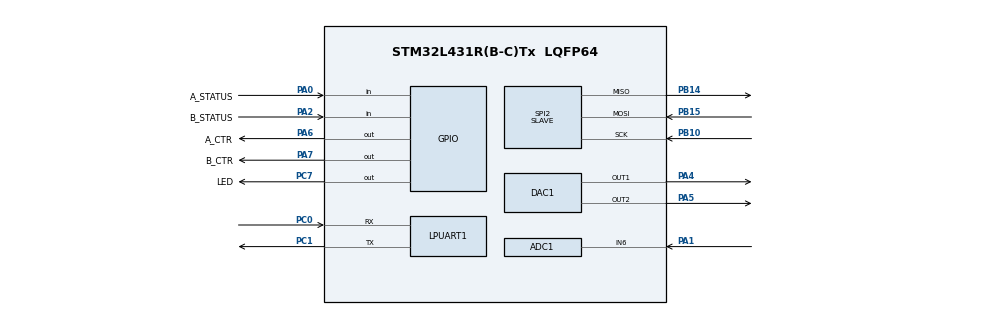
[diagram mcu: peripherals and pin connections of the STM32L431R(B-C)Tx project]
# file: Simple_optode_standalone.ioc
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ADC1.Channel-1\#ChannelRegularConversion=ADC_CHANNEL_6
ADC1.ContinuousConvMode=ENABLE
ADC1.NbrOfConversionFlag=1
ADC1.OffsetNumber-1\#ChannelRegularConversion=ADC_OFFSET_NONE
ADC1.Rank-1\#ChannelRegularConversion=1
ADC1.Resolution=ADC_RESOLUTION_12B
ADC1.SamplingTime-1\#ChannelRegularConversion=ADC_SAMPLETIME_2CYCLES_5
ADC1.master=1
DAC1.DAC_Channel-DAC_OUT2=DAC_CHANNEL_2
DAC1.DAC_SampleAndHold-DAC_OUT1=DAC_SAMPLEANDHOLD_ENABLE
DAC1.DAC_SampleAndHold-DAC_OUT2=DAC_SAMPLEANDHOLD_ENABLE
Mcu.Family=STM32L4
Mcu.Name=STM32L431R(B-C)Tx
Mcu.Package=LQFP64
NVIC.ADC1_IRQn=true\:0\:0\:false\:false\:true\:true\:true
NVIC.PriorityGroup=NVIC_PRIORITYGROUP_4
NVIC.TIM1_UP_TIM16_IRQn=true\:0\:0\:false\:false\:true\:true\:true
PA0.GPIO_Label=A_STATUS
PA0.Signal=GPIO_Input
PA1.Signal=ADCx_IN6
PA13\ (JTMS-SWDIO).Mode=Serial_Wire
PA13\ (JTMS-SWDIO).Signal=SYS_JTMS-SWDIO
PA14\ (JTCK-SWCLK).Mode=Serial_Wire
PA14\ (JTCK-SWCLK).Signal=SYS_JTCK-SWCLK
PA2.GPIO_Label=B_STATUS
PA2.Signal=GPIO_Input
PA4.Signal=COMP_DAC11_group
PA5.Signal=COMP_DAC12_group
PA6.GPIO_Label=A_CTR
PA6.Signal=GPIO_Output
PA7.GPIO_Label=B_CTR
PA7.Signal=GPIO_Output
PB10.Mode=Full_Duplex_Slave
PB10.Signal=SPI2_SCK
PB12.Signal=SPI2_NSS
PB14.Mode=Full_Duplex_Slave
PB14.Signal=SPI2_MISO
PB15.Mode=Full_Duplex_Slave
PB15.Signal=SPI2_MOSI
PC0.Mode=Asynchronous
PC0.Signal=LPUART1_RX
PC1.Mode=Asynchronous
PC1.Signal=LPUART1_TX
PC14-OSC32_IN\ (PC14).Mode=LSE-External-Oscillator
PC14-OSC32_IN\ (PC14).Signal=RCC_OSC32_IN
PC15-OSC32_OUT\ (PC15).Mode=LSE-External-Oscillator
PC15-OSC32_OUT\ (PC15).Signal=RCC_OSC32_OUT
PC7.GPIO_Label=LED
PC7.Signal=GPIO_Output
PH0-OSC_IN\ (PH0).Mode=HSE-External-Oscillator
PH0-OSC_IN\ (PH0).Signal=RCC_OSC_IN
PH1-OSC_OUT\ (PH1).Mode=HSE-External-Oscillator
PH1-OSC_OUT\ (PH1).Signal=RCC_OSC_OUT
ProjectManager.HeapSize=0x200
ProjectManager.StackSize=0x400
ProjectManager.TargetToolchain=STM32CubeIDE
RCC.ADCFreq_Value=64000000
RCC.HSE_VALUE=16000000
RCC.HSI48_VALUE=48000000
RCC.HSI_VALUE=16000000
RCC.MSI_VALUE=4000000
RCC.PLLSourceVirtual=RCC_PLLSOURCE_HSE
RCC.VCOOutputFreq_Value=128000000
SH.ADCx_IN6.0=ADC1_IN6,IN6-Single-Ended
SH.COMP_DAC11_group.0=DAC1_OUT1,DAC_OUT1
SH.COMP_DAC12_group.0=DAC1_OUT2,DAC_OUT2
SPI2.Direction=SPI_DIRECTION_2LINES
SPI2.Mode=SPI_MODE_SLAVE
SPI2.VirtualType=VM_SLAVE
TIM16.Period=10000-1
TIM16.Prescaler=80-1
VP_TIM16_VS_ClockSourceINT.Mode=Enable_Timer
board=custom

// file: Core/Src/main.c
/* USER CODE BEGIN Header */
/**
  ******************************************************************************
  * @file           : main.c
  * @brief          : This is the code for the simple standalone optode
  * @Author			: UG Chathura Jayasankha
  ******************************************************************************
  * @attention
  *
  * <h2><center>&copy; Copyright (c) 2022 STMicroelectronics.
  * All rights reserved.</center></h2>
  *
  * This software component is licensed by ST under BSD 3-Clause license,
  * the "License"; You may not use this file except in compliance with the
  * License. You may obtain a copy of the License at:
  *                        opensource.org/licenses/BSD-3-Clause
  *
  ******************************************************************************
  */
/* USER CODE END Header */
#include "main.h"

/* USER CODE BEGIN Includes */
#include <stdio.h>
#include <string.h>
/* USER CODE END Includes */

ADC_HandleTypeDef hadc1;

DAC_HandleTypeDef hdac1;

UART_HandleTypeDef hlpuart1;

SPI_HandleTypeDef hspi2;

TIM_HandleTypeDef htim16;

/* USER CODE BEGIN PV */
uint32_t DAC_val = 4000;

/* USER CODE END PV */

void SystemClock_Config(void);
static void MX_GPIO_Init(void);
static void MX_ADC1_Init(void);
static void MX_DAC1_Init(void);
static void MX_TIM16_Init(void);
static void MX_LPUART1_UART_Init(void);
static void MX_SPI2_Init(void);

/* USER CODE BEGIN 0 */
uint16_t adc_reading;
char msg[10];
char uart_buf[100];
int uart_buf_len;
/* USER CODE END 0 */

int main(void)
{

  /* MCU Configuration--------------------------------------------------------*/

  /* Reset of all peripherals, Initializes the Flash interface and the Systick. */
  HAL_Init();

  /* Configure the system clock */
  SystemClock_Config();

  /* Initialize all configured peripherals */
  MX_GPIO_Init();
  MX_ADC1_Init();
  MX_DAC1_Init();
  MX_TIM16_Init();
  MX_LPUART1_UART_Init();
  MX_SPI2_Init();
  /* USER CODE BEGIN 2 */

  // switching on led to show the fnirs start
  HAL_GPIO_WritePin(GPIOB, GPIO_PIN_7, GPIO_PIN_SET);
  HAL_Delay(500);
  HAL_GPIO_WritePin(GPIOB, GPIO_PIN_7, GPIO_PIN_RESET);
  HAL_Delay(500);
  HAL_GPIO_WritePin(GPIOB, GPIO_PIN_7, GPIO_PIN_SET);
  HAL_Delay(500);
  HAL_GPIO_WritePin(GPIOB, GPIO_PIN_7, GPIO_PIN_RESET);
  HAL_Delay(500);
  HAL_GPIO_WritePin(GPIOB, GPIO_PIN_7, GPIO_PIN_SET);
  HAL_Delay(500);
  HAL_GPIO_WritePin(GPIOB, GPIO_PIN_7, GPIO_PIN_RESET);
  HAL_Delay(500);
  HAL_GPIO_WritePin(GPIOB, GPIO_PIN_7, GPIO_PIN_SET);
  HAL_Delay(500);

  //usb output as a test
  uart_buf_len = sprintf(uart_buf, "Timer starting ...\r\n");
  HAL_UART_Transmit(&hlpuart1, (uint8_t *)uart_buf, uart_buf_len, 100);
  // HAL_UART_Transmit(huart, pData, Size, Timeout)

  //start interrupt for ADC
  HAL_ADC_Start_IT (&hadc1);

  //start interrupt timer
  HAL_TIM_Base_Start_IT(&htim16);

  //start DAC
  HAL_DAC_Start(&hdac1, DAC_CHANNEL_1);
  HAL_DAC_Start(&hdac1, DAC_CHANNEL_2);
  HAL_DAC_SetValue(&hdac1, DAC1_CHANNEL_1, DAC_ALIGN_12B_R, DAC_val);
  HAL_DAC_SetValue(&hdac1, DAC1_CHANNEL_2, DAC_ALIGN_12B_R, DAC_val);

  /* USER CODE END 2 */

  /* Infinite loop */
  while (1)
  {

    /* USER CODE BEGIN 3 */
//	  HAL_GPIO_TogglePin(GPIOA, GPIO_PIN_7);
//	  HAL_GPIO_TogglePin(GPIOA, GPIO_PIN_6);
//	  HAL_Delay(500);
  }
  /* USER CODE END 3 */
}

void SystemClock_Config(void)
{
  RCC_OscInitTypeDef RCC_OscInitStruct = {0};
  RCC_ClkInitTypeDef RCC_ClkInitStruct = {0};

  /** Configure the main internal regulator output voltage
  */
  if (HAL_PWREx_ControlVoltageScaling(PWR_REGULATOR_VOLTAGE_SCALE1) != HAL_OK)
  {
    Error_Handler();
  }
  /** Configure LSE Drive Capability
  */
  HAL_PWR_EnableBkUpAccess();
  __HAL_RCC_LSEDRIVE_CONFIG(RCC_LSEDRIVE_LOW);
  /** Initializes the RCC Oscillators according to the specified parameters
  * in the RCC_OscInitTypeDef structure.
  */
  RCC_OscInitStruct.OscillatorType = RCC_OSCILLATORTYPE_LSI|RCC_OSCILLATORTYPE_HSE
                              |RCC_OSCILLATORTYPE_LSE|RCC_OSCILLATORTYPE_MSI;
  RCC_OscInitStruct.HSEState = RCC_HSE_ON;
  RCC_OscInitStruct.LSEState = RCC_LSE_ON;
  RCC_OscInitStruct.LSIState = RCC_LSI_ON;
  RCC_OscInitStruct.MSIState = RCC_MSI_ON;
  RCC_OscInitStruct.MSICalibrationValue = 0;
  RCC_OscInitStruct.MSIClockRange = RCC_MSIRANGE_6;
  RCC_OscInitStruct.PLL.PLLState = RCC_PLL_NONE;
  if (HAL_RCC_OscConfig(&RCC_OscInitStruct) != HAL_OK)
  {
    Error_Handler();
  }
  /** Initializes the CPU, AHB and APB buses clocks
  */
  RCC_ClkInitStruct.ClockType = RCC_CLOCKTYPE_HCLK|RCC_CLOCKTYPE_SYSCLK
                              |RCC_CLOCKTYPE_PCLK1|RCC_CLOCKTYPE_PCLK2;
  RCC_ClkInitStruct.SYSCLKSource = RCC_SYSCLKSOURCE_MSI;
  RCC_ClkInitStruct.AHBCLKDivider = RCC_SYSCLK_DIV1;
  RCC_ClkInitStruct.APB1CLKDivider = RCC_HCLK_DIV1;
  RCC_ClkInitStruct.APB2CLKDivider = RCC_HCLK_DIV1;

  if (HAL_RCC_ClockConfig(&RCC_ClkInitStruct, FLASH_LATENCY_0) != HAL_OK)
  {
    Error_Handler();
  }
  /** Enable MSI Auto calibration
  */
  HAL_RCCEx_EnableMSIPLLMode();
}

static void MX_ADC1_Init(void)
{

  ADC_ChannelConfTypeDef sConfig = {0};

  /** Common config
  */
  hadc1.Instance = ADC1;
  hadc1.Init.ClockPrescaler = ADC_CLOCK_ASYNC_DIV1;
  hadc1.Init.Resolution = ADC_RESOLUTION_12B;
  hadc1.Init.DataAlign = ADC_DATAALIGN_RIGHT;
  hadc1.Init.ScanConvMode = ADC_SCAN_DISABLE;
  hadc1.Init.EOCSelection = ADC_EOC_SINGLE_CONV;
  hadc1.Init.LowPowerAutoWait = DISABLE;
  hadc1.Init.ContinuousConvMode = ENABLE;
  hadc1.Init.NbrOfConversion = 1;
  hadc1.Init.DiscontinuousConvMode = DISABLE;
  hadc1.Init.ExternalTrigConv = ADC_SOFTWARE_START;
  hadc1.Init.ExternalTrigConvEdge = ADC_EXTERNALTRIGCONVEDGE_NONE;
  hadc1.Init.DMAContinuousRequests = DISABLE;
  hadc1.Init.Overrun = ADC_OVR_DATA_PRESERVED;
  hadc1.Init.OversamplingMode = DISABLE;
  if (HAL_ADC_Init(&hadc1) != HAL_OK)
  {
    Error_Handler();
  }
  /** Configure Regular Channel
  */
  sConfig.Channel = ADC_CHANNEL_6;
  sConfig.Rank = ADC_REGULAR_RANK_1;
  sConfig.SamplingTime = ADC_SAMPLETIME_2CYCLES_5;
  sConfig.SingleDiff = ADC_SINGLE_ENDED;
  sConfig.OffsetNumber = ADC_OFFSET_NONE;
  sConfig.Offset = 0;
  if (HAL_ADC_ConfigChannel(&hadc1, &sConfig) != HAL_OK)
  {
    Error_Handler();
  }

}

static void MX_DAC1_Init(void)
{

  DAC_ChannelConfTypeDef sConfig = {0};

  /** DAC Initialization
  */
  hdac1.Instance = DAC1;
  if (HAL_DAC_Init(&hdac1) != HAL_OK)
  {
    Error_Handler();
  }
  /** DAC channel OUT1 config
  */
  sConfig.DAC_SampleAndHold = DAC_SAMPLEANDHOLD_ENABLE;
  sConfig.DAC_Trigger = DAC_TRIGGER_NONE;
  sConfig.DAC_OutputBuffer = DAC_OUTPUTBUFFER_ENABLE;
  sConfig.DAC_ConnectOnChipPeripheral = DAC_CHIPCONNECT_DISABLE;
  sConfig.DAC_UserTrimming = DAC_TRIMMING_FACTORY;
  sConfig.DAC_SampleAndHoldConfig.DAC_SampleTime = 0;
  sConfig.DAC_SampleAndHoldConfig.DAC_HoldTime = 0;
  sConfig.DAC_SampleAndHoldConfig.DAC_RefreshTime = 0;
  if (HAL_DAC_ConfigChannel(&hdac1, &sConfig, DAC_CHANNEL_1) != HAL_OK)
  {
    Error_Handler();
  }
  /** DAC channel OUT2 config
  */
  if (HAL_DAC_ConfigChannel(&hdac1, &sConfig, DAC_CHANNEL_2) != HAL_OK)
  {
    Error_Handler();
  }

}

static void MX_LPUART1_UART_Init(void)
{

  hlpuart1.Instance = LPUART1;
  hlpuart1.Init.BaudRate = 209700;
  hlpuart1.Init.WordLength = UART_WORDLENGTH_7B;
  hlpuart1.Init.StopBits = UART_STOPBITS_1;
  hlpuart1.Init.Parity = UART_PARITY_NONE;
  hlpuart1.Init.Mode = UART_MODE_TX_RX;
  hlpuart1.Init.HwFlowCtl = UART_HWCONTROL_NONE;
  hlpuart1.Init.OneBitSampling = UART_ONE_BIT_SAMPLE_DISABLE;
  hlpuart1.AdvancedInit.AdvFeatureInit = UART_ADVFEATURE_NO_INIT;
  if (HAL_UART_Init(&hlpuart1) != HAL_OK)
  {
    Error_Handler();
  }

}

static void MX_SPI2_Init(void)
{

  /* SPI2 parameter configuration*/
  hspi2.Instance = SPI2;
  hspi2.Init.Mode = SPI_MODE_SLAVE;
  hspi2.Init.Direction = SPI_DIRECTION_2LINES;
  hspi2.Init.DataSize = SPI_DATASIZE_4BIT;
  hspi2.Init.CLKPolarity = SPI_POLARITY_LOW;
  hspi2.Init.CLKPhase = SPI_PHASE_1EDGE;
  hspi2.Init.NSS = SPI_NSS_SOFT;
  hspi2.Init.FirstBit = SPI_FIRSTBIT_MSB;
  hspi2.Init.TIMode = SPI_TIMODE_DISABLE;
  hspi2.Init.CRCCalculation = SPI_CRCCALCULATION_DISABLE;
  hspi2.Init.CRCPolynomial = 7;
  hspi2.Init.CRCLength = SPI_CRC_LENGTH_DATASIZE;
  hspi2.Init.NSSPMode = SPI_NSS_PULSE_DISABLE;
  if (HAL_SPI_Init(&hspi2) != HAL_OK)
  {
    Error_Handler();
  }

}

static void MX_TIM16_Init(void)
{

  htim16.Instance = TIM16;
  htim16.Init.Prescaler = 80-1;
  htim16.Init.CounterMode = TIM_COUNTERMODE_UP;
  htim16.Init.Period = 10000-1;
  htim16.Init.ClockDivision = TIM_CLOCKDIVISION_DIV1;
  htim16.Init.RepetitionCounter = 0;
  htim16.Init.AutoReloadPreload = TIM_AUTORELOAD_PRELOAD_DISABLE;
  if (HAL_TIM_Base_Init(&htim16) != HAL_OK)
  {
    Error_Handler();
  }

}

static void MX_GPIO_Init(void)
{
  GPIO_InitTypeDef GPIO_InitStruct = {0};

  /* GPIO Ports Clock Enable */
  __HAL_RCC_GPIOC_CLK_ENABLE();
  __HAL_RCC_GPIOH_CLK_ENABLE();
  __HAL_RCC_GPIOA_CLK_ENABLE();
  __HAL_RCC_GPIOB_CLK_ENABLE();

  /*Configure GPIO pin Output Level */
  HAL_GPIO_WritePin(GPIOA, A_CTR_Pin|B_CTR_Pin, GPIO_PIN_RESET);

  /*Configure GPIO pin Output Level */
  HAL_GPIO_WritePin(LED_GPIO_Port, LED_Pin, GPIO_PIN_RESET);

  /*Configure GPIO pins : A_STATUS_Pin B_STATUS_Pin */
  GPIO_InitStruct.Pin = A_STATUS_Pin|B_STATUS_Pin;
  GPIO_InitStruct.Mode = GPIO_MODE_INPUT;
  GPIO_InitStruct.Pull = GPIO_NOPULL;
  HAL_GPIO_Init(GPIOA, &GPIO_InitStruct);

  /*Configure GPIO pins : A_CTR_Pin B_CTR_Pin */
  GPIO_InitStruct.Pin = A_CTR_Pin|B_CTR_Pin;
  GPIO_InitStruct.Mode = GPIO_MODE_OUTPUT_PP;
  GPIO_InitStruct.Pull = GPIO_NOPULL;
  GPIO_InitStruct.Speed = GPIO_SPEED_FREQ_LOW;
  HAL_GPIO_Init(GPIOA, &GPIO_InitStruct);

  /*Configure GPIO pin : LED_Pin */
  GPIO_InitStruct.Pin = LED_Pin;
  GPIO_InitStruct.Mode = GPIO_MODE_OUTPUT_PP;
  GPIO_InitStruct.Pull = GPIO_NOPULL;
  GPIO_InitStruct.Speed = GPIO_SPEED_FREQ_LOW;
  HAL_GPIO_Init(LED_GPIO_Port, &GPIO_InitStruct);

}

/* USER CODE BEGIN 4 */

//Interrupt service routine for periodic timer interrupt
void HAL_TIM_PeriodElapsedCallback(TIM_HandleTypeDef *htim){
	if (htim==&htim16){
//		HAL_GPIO_TogglePin(GPIOA, GPIO_PIN_6);
//		HAL_GPIO_TogglePin(GPIOA, GPIO_PIN_7);
//
//		//HAL_Delay(1);
//
//		//Read ADC reading
//	    //HAL_ADC_Start(&hadc1);
//	    HAL_ADC_PollForConversion(&hadc1, HAL_MAX_DELAY);
//	    adc_reading = HAL_ADC_GetValue(&hadc1);
//
//	    sprintf(msg, "%hu\r\n", adc_reading);
//
//	    HAL_UART_Transmit(&hlpuart1, (uint8_t*)msg, strlen(msg), HAL_MAX_DELAY);
	}
}

//void HAL_ADC_ConvCpltCallback(ADC_HandleTypeDef* hadc)
//{
//  adc_val = HAL_ADC_GetValue(&hadc1);
//  /*If continuousconversion mode is DISABLED uncomment below*/
//  //HAL_ADC_Start_IT (&hadc1);
//}

/* USER CODE END 4 */

void Error_Handler(void)
{
  __disable_irq();
  while (1)
  {
  }
}

/************************ (C) COPYRIGHT STMicroelectronics *****END OF FILE****/
